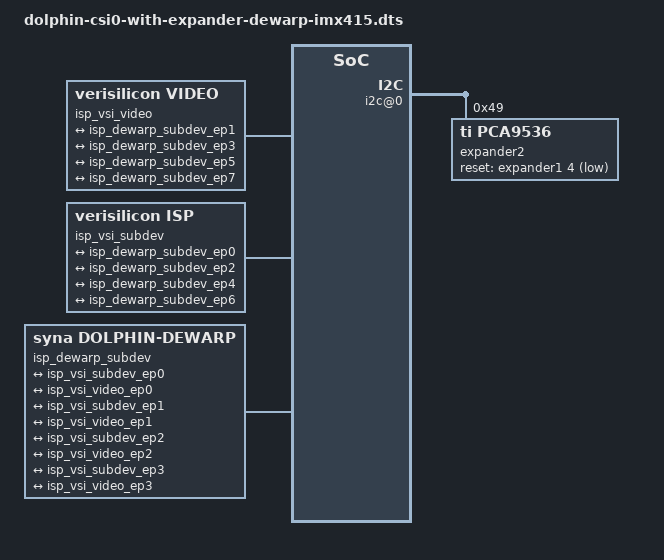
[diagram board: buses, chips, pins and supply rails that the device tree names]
#include <dt-bindings/gpio/gpio.h>

/dts-v1/;
/plugin/;

/ {
	fragment@0 {
		target-path = "/i2cdemux3/i2c@0";
		__overlay__ {
			#address-cells = <1>;
			#size-cells = <0>;
			expander2: gpio@49 {
				compatible = "ti,pca9536";
				reg = <0x49>;
				gpio-controller;
				#gpio-cells = <2>;
				reset-gpios = <&expander1 4 GPIO_ACTIVE_LOW>;
			};
		};
	};

	fragment@1 {
		target-path = "/soc";
		__overlay__ {
			isp_vsi: isp_vsi@f9100000 {
				status = "okay";
				reset-gpios = <&expander2 1 0>, <&expander1 6 0>;
				enable-gpios = <&expander2 0 0>, <&expander1 7 0>;
			};
		};
	};

	fragment@2 {
		target-path = "/soc";
		__overlay__ {
			isp_vsi_video: isp_vsi_video {
				status = "okay";
				compatible = "verisilicon,video";
				ports {
					#address-cells = <1>;
					#size-cells = <0>;
					port@0 {
						reg = <0>;
						#address-cells = <1>;
						#size-cells = <0>;
						isp_vsi_video_ep0: endpoint@0 {
							reg = <0>;
							remote-endpoint = <&isp_dewarp_subdev_ep1>;
						};
					};
					port@1 {
						reg = <1>;
						#address-cells = <1>;
						#size-cells = <0>;
						isp_vsi_video_ep1: endpoint@1 {
							reg = <1>;
							remote-endpoint = <&isp_dewarp_subdev_ep3>;
						};
					};
					port@2 {
						reg = <2>;
						#address-cells = <1>;
						#size-cells = <0>;
						isp_vsi_video_ep2: endpoint@2 {
							reg = <2>;
							remote-endpoint = <&isp_dewarp_subdev_ep5>;
						};
					};
					port@3 {
						reg = <3>;
						#address-cells = <1>;
						#size-cells = <0>;
						isp_vsi_video_ep3: endpoint@3 {
							reg = <3>;
							remote-endpoint = <&isp_dewarp_subdev_ep7>;
						};
					};
				};
			};
		};
	};

	fragment@3 {
		target-path = "/soc";
		__overlay__ {
			isp_vsi_subdev: isp_vsi_subdev {
				id = <0>;
				status = "okay";
				compatible = "verisilicon,isp";
				ports {
					#address-cells = <1>;
					#size-cells = <0>;
					port@1 {
						reg = <1>;
						#address-cells = <1>;
						#size-cells = <0>;
						isp_vsi_subdev_ep0: endpoint@1 {
							reg = <1>;
							remote-endpoint = <&isp_dewarp_subdev_ep0>;
						};
					};
					port@2 {
						reg = <2>;
						#address-cells = <1>;
						#size-cells = <0>;
						isp_vsi_subdev_ep1: endpoint@2 {
							reg = <2>;
							remote-endpoint = <&isp_dewarp_subdev_ep2>;
						};
					};
					port@3 {
						reg = <3>;
						#address-cells = <1>;
						#size-cells = <0>;
						isp_vsi_subdev_ep2: endpoint@3 {
							reg = <3>;
							remote-endpoint = <&isp_dewarp_subdev_ep4>;
						};
					};
					port@4 {
						reg = <4>;
						#address-cells = <1>;
						#size-cells = <0>;
						isp_vsi_subdev_ep3: endpoint@4 {
							reg = <4>;
							remote-endpoint = <&isp_dewarp_subdev_ep6>;
						};
					};
				};
			};
		};
	};

	fragment@4 {
		target-path = "/soc";
		__overlay__ {
			isp_dewarp_subdev: isp_dewarp_subdev {
				id = <0>;
				status = "okay";
				compatible = "syna,dolphin-dewarp";
				cisHwin = <0x8>;
				cisVwin = <0x10>;
				disHwin = <0x30>;
				disVwin = <0x20>;
				disHgrid = <0x8>;
				disVgrid = <0x10>;
				cisMatSize = <0x80>;
				cisBlkHtotal = <0x1e0>;
				cisBlkVtotal = <0x87>;
				inWidth = <0xF00>;
				outWidth = <0xF00>;
				inHeight = <0x870>;
				outHeight = <0x870>;
				maxDisBlocks = <0x51>;
				disV4H2scan = <0>;
				biCubicOff = <0>;
				cisBsize = <1>;
				limitCbuff = <1>;
				disLumaTiles = <0x18>;
				disChromaTiles = <0xc>;
				disBlkSize = <0x600>;
				disBlkChromaSize = <0x600>;
				blankLuma = <0>;
				blankChroma = <0x80>;
				validDisBlks = <0x2992>;
				inBitDepth = <0>;
				outBitDepth = <0>;
				inFmt = <8>;
				outFmt = <8>;
				ports {
					#address-cells = <1>;
					#size-cells = <0>;
					port@0 {
						reg = <0>;
						#address-cells = <1>;
						#size-cells = <0>;
						isp_dewarp_subdev_ep0: endpoint@0 {
							reg = <0>;
							remote-endpoint = <&isp_vsi_subdev_ep0>;
						};
					};
					port@1 {
						reg = <1>;
						#address-cells = <1>;
						#size-cells = <0>;
						isp_dewarp_subdev_ep1: endpoint@1 {
							reg = <1>;
							remote-endpoint = <&isp_vsi_video_ep0>;
						};
					};
					port@2 {
						reg = <2>;
						#address-cells = <1>;
						#size-cells = <0>;
						isp_dewarp_subdev_ep2: endpoint@2 {
							reg = <2>;
							remote-endpoint = <&isp_vsi_subdev_ep1>;
						};
					};
					port@3 {
						reg = <3>;
						#address-cells = <1>;
						#size-cells = <0>;
						isp_dewarp_subdev_ep3: endpoint@3 {
							reg = <3>;
							remote-endpoint = <&isp_vsi_video_ep1>;
						};
					};
					port@4 {
						reg = <4>;
						#address-cells = <1>;
						#size-cells = <0>;
						isp_dewarp_subdev_ep4: endpoint@4 {
							reg = <4>;
							remote-endpoint = <&isp_vsi_subdev_ep2>;
						};
					};
					port@5 {
						reg = <5>;
						#address-cells = <1>;
						#size-cells = <0>;
						isp_dewarp_subdev_ep5: endpoint@5 {
							reg = <5>;
							remote-endpoint = <&isp_vsi_video_ep2>;
						};
					};
					port@6 {
						reg = <6>;
						#address-cells = <1>;
						#size-cells = <0>;
						isp_dewarp_subdev_ep6: endpoint@6 {
							reg = <6>;
							remote-endpoint = <&isp_vsi_subdev_ep3>;
						};
					};
					port@7 {
						reg = <7>;
						#address-cells = <1>;
						#size-cells = <0>;
						isp_dewarp_subdev_ep7: endpoint@7 {
							reg = <7>;
							remote-endpoint = <&isp_vsi_video_ep3>;
						};
					};
				};
			};
		};
	};
};
